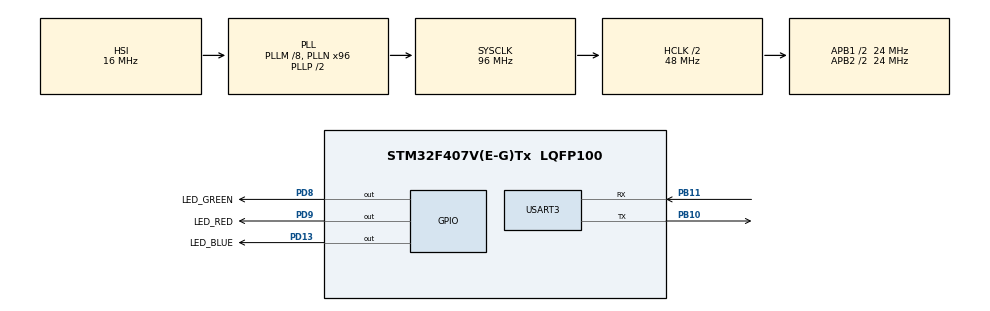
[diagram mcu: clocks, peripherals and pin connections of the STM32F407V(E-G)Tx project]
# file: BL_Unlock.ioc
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Mcu.Family=STM32F4
Mcu.Name=STM32F407V(E-G)Tx
Mcu.Package=LQFP100
NVIC.PriorityGroup=NVIC_PRIORITYGROUP_4
NVIC.USART3_IRQn=true\:0\:0\:false\:false\:true\:true\:true
PA13.Mode=Serial_Wire
PA13.Signal=SYS_JTMS-SWDIO
PA14.Mode=Serial_Wire
PA14.Signal=SYS_JTCK-SWCLK
PB10.Mode=Asynchronous
PB10.Signal=USART3_TX
PB11.Mode=Asynchronous
PB11.Signal=USART3_RX
PD13.GPIO_Label=LED_BLUE
PD13.GPIO_ModeDefaultOutputPP=GPIO_MODE_OUTPUT_PP
PD13.GPIO_PuPd=GPIO_PULLUP
PD13.GPIO_Speed=GPIO_SPEED_FREQ_HIGH
PD13.PinState=GPIO_PIN_SET
PD13.Signal=GPIO_Output
PD8.GPIO_Label=LED_GREEN
PD8.GPIO_ModeDefaultOutputPP=GPIO_MODE_OUTPUT_PP
PD8.GPIO_PuPd=GPIO_PULLUP
PD8.GPIO_Speed=GPIO_SPEED_FREQ_HIGH
PD8.PinState=GPIO_PIN_SET
PD8.Signal=GPIO_Output
PD9.GPIO_Label=LED_RED
PD9.GPIO_PuPd=GPIO_PULLUP
PD9.GPIO_Speed=GPIO_SPEED_FREQ_HIGH
PD9.PinState=GPIO_PIN_SET
PD9.Signal=GPIO_Output
ProjectManager.HeapSize=0x2000
ProjectManager.StackSize=0x4000
ProjectManager.TargetToolchain=STM32CubeIDE
RCC.48MHZClocksFreq_Value=48000000
RCC.AHBCLKDivider=RCC_SYSCLK_DIV2
RCC.AHBFreq_Value=48000000
RCC.APB1CLKDivider=RCC_HCLK_DIV2
RCC.APB1Freq_Value=24000000
RCC.APB1TimFreq_Value=48000000
RCC.APB2CLKDivider=RCC_HCLK_DIV2
RCC.APB2Freq_Value=24000000
RCC.APB2TimFreq_Value=48000000
RCC.CortexFreq_Value=48000000
RCC.HCLKFreq_Value=48000000
RCC.HSE_VALUE=16000000
RCC.HSI_VALUE=16000000
RCC.LSE_VALUE=32768
RCC.PLLM=8
RCC.PLLN=96
RCC.SYSCLKFreq_VALUE=96000000
RCC.SYSCLKSource=RCC_SYSCLKSOURCE_PLLCLK
RCC.VCOOutputFreq_Value=192000000
USART3.VirtualMode=VM_ASYNC
board=custom

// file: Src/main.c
/* USER CODE BEGIN Header */
/**
  ******************************************************************************
  * @file           : main.c
  * @brief          : Main program body
  ******************************************************************************
  * @attention
  *
  * <h2><center>&copy; Copyright (c) 2020 STMicroelectronics.
  * All rights reserved.</center></h2>
  *
  * This software component is licensed by ST under Ultimate Liberty license
  * SLA0044, the "License"; You may not use this file except in compliance with
  * the License. You may obtain a copy of the License at:
  *                             www.st.com/SLA0044
  *
  ******************************************************************************
  */
/* USER CODE END Header */

#include "main.h"
#include "usart.h"
#include "gpio.h"

/* USER CODE BEGIN Includes */
#include "Periphs/uart.h"
#include "version.h"

/* USER CODE END Includes */

void SystemClock_Config(void);

/* USER CODE BEGIN 0 */

static inline void delay_us(uint16_t us)
{
	while(us--)
	{
		asm("mov r0,r0");asm("mov r0,r0");asm("mov r0,r0");asm("mov r0,r0");asm("mov r0,r0");
		asm("mov r0,r0");asm("mov r0,r0");asm("mov r0,r0");asm("mov r0,r0");asm("mov r0,r0");
		asm("mov r0,r0");asm("mov r0,r0");asm("mov r0,r0");asm("mov r0,r0");asm("mov r0,r0");
		asm("mov r0,r0");asm("mov r0,r0");asm("mov r0,r0");asm("mov r0,r0");asm("mov r0,r0");
		asm("mov r0,r0");asm("mov r0,r0");asm("mov r0,r0");asm("mov r0,r0");asm("mov r0,r0");
		asm("mov r0,r0");asm("mov r0,r0");asm("mov r0,r0");asm("mov r0,r0");asm("mov r0,r0");
		asm("mov r0,r0");asm("mov r0,r0");asm("mov r0,r0");asm("mov r0,r0");asm("mov r0,r0");
		asm("mov r0,r0");asm("mov r0,r0");asm("mov r0,r0");asm("mov r0,r0");asm("mov r0,r0");
		asm("mov r0,r0");asm("mov r0,r0");asm("mov r0,r0");asm("mov r0,r0");asm("mov r0,r0");
	}
}
void delay_ms(uint16_t ms)
{
	while(ms--)
	{
		//for(int i=0; i<48; i++) asm("mov r0,r0");
		delay_us(1000);
	}
}

/****************************************************************
* Function:    Flash_EnableReadProtection
* Description: Enable the read protection of user flash area.
* Input:        NONE
* Output:        NONE
* Return:  NONE
*****************************************************************/

void Flash_EnableReadProtection(void)
{

	FLASH_OBProgramInitTypeDef OBInit;

	__HAL_FLASH_PREFETCH_BUFFER_DISABLE();

	HAL_FLASHEx_OBGetConfig(&OBInit);
	if(OBInit.RDPLevel == OB_RDP_LEVEL_0)
	{
		OBInit.OptionType = OPTIONBYTE_RDP;
		OBInit.RDPLevel = OB_RDP_LEVEL_1;
		HAL_FLASH_Unlock();
		HAL_FLASH_OB_Unlock();
		HAL_FLASHEx_OBProgram(&OBInit);
		HAL_FLASH_OB_Launch();
		HAL_FLASH_OB_Lock();
		HAL_FLASH_Lock();
	}
	__HAL_FLASH_PREFETCH_BUFFER_ENABLE();

}

void Flash_EnableWriteProtection(void)
{

	FLASH_OBProgramInitTypeDef OBInit;

	__HAL_FLASH_PREFETCH_BUFFER_DISABLE();

	HAL_FLASHEx_OBGetConfig(&OBInit);
	app_debug("[%s--%d] WRPSector[0x%08X]\r\n", __func__, __LINE__, OBInit.WRPSector);
	// 锁住 boot 扇区, 0是保护
	if(0x00 != (OBInit.WRPSector&0x07))
	{
		OBInit.OptionType = OPTIONBYTE_WRP;
		OBInit.WRPState = OB_WRPSTATE_ENABLE;
		OBInit.WRPSector = 0x07;
		HAL_FLASH_Unlock();
		HAL_FLASH_OB_Unlock();
		HAL_FLASHEx_OBProgram(&OBInit);
		HAL_FLASH_OB_Launch();
		HAL_FLASH_OB_Lock();
		HAL_FLASH_Lock();
	}
	app_debug("[%s--%d] WRPSector[0x%08X]\r\n", __func__, __LINE__, OBInit.WRPSector);
	__HAL_FLASH_PREFETCH_BUFFER_ENABLE();

}

/****************************************************************
* Function:    Flash_DisableReadProtection
* Description: Disable the read protection of user flash area.
* Input:        NONE
* Output:        NONE
* Return:  NONE
*****************************************************************/
void Flash_DisableReadProtection(void)
{

  FLASH_OBProgramInitTypeDef OBInit;

  __HAL_FLASH_PREFETCH_BUFFER_DISABLE();

  HAL_FLASHEx_OBGetConfig(&OBInit);
  if(OBInit.RDPLevel != OB_RDP_LEVEL_0)
  {
    OBInit.OptionType = OPTIONBYTE_RDP;
    OBInit.RDPLevel = OB_RDP_LEVEL_0;
    HAL_FLASH_Unlock();
    HAL_FLASH_OB_Unlock();
    HAL_FLASHEx_OBProgram(&OBInit);
    HAL_FLASH_OB_Launch();
    HAL_FLASH_OB_Lock();
    HAL_FLASH_Lock();
  }
  __HAL_FLASH_PREFETCH_BUFFER_ENABLE();

}
void Flash_DisableWriteProtection(void)
{

	FLASH_OBProgramInitTypeDef OBInit;

	__HAL_FLASH_PREFETCH_BUFFER_DISABLE();

	HAL_FLASHEx_OBGetConfig(&OBInit);
	app_debug("[%s--%d] WRPSector[0x%08X]\r\n", __func__, __LINE__, OBInit.WRPSector);
	// 解锁
	if(0x7FF != (OBInit.WRPSector&0x7FF))
	{
		OBInit.OptionType = OPTIONBYTE_WRP;
		OBInit.WRPState = OB_WRPSTATE_DISABLE;
		OBInit.WRPSector = 0x7FF;
		HAL_FLASH_Unlock();
		HAL_FLASH_OB_Unlock();
		HAL_FLASHEx_OBProgram(&OBInit);
		HAL_FLASH_OB_Launch();
		HAL_FLASH_OB_Lock();
		HAL_FLASH_Lock();
	}
	app_debug("[%s--%d] WRPSector[0x%08X]\r\n", __func__, __LINE__, OBInit.WRPSector);
	__HAL_FLASH_PREFETCH_BUFFER_ENABLE();

}

/* USER CODE END 0 */

int main(void)
{
  /* USER CODE BEGIN 1 */

	//const struct Emb_Device_Version* const flash = (const struct Emb_Device_Version*)0x08000000UL;
	//int conut=0;
  /* USER CODE END 1 */

  /* MCU Configuration--------------------------------------------------------*/

  /* Reset of all peripherals, Initializes the Flash interface and the Systick. */
  HAL_Init();

  /* Configure the system clock */
  SystemClock_Config();

  /* Initialize all configured peripherals */
  MX_GPIO_Init();
  MX_USART3_UART_Init();
  /* USER CODE BEGIN 2 */
	app_debug("[%s--%d] Ver[%d | 0x%08X]:%s\r\n", __func__, __LINE__, sizeof(Emb_Version), &Emb_Version, Emb_Version.version);
	//app_debug("[%s--%d] Ver[0x%08X]:%s\r\n", __func__, __LINE__, flash, flash->version);
	//
	//Flash_DisableReadProtection();
	Flash_EnableWriteProtection();
	Flash_DisableWriteProtection();
  /* USER CODE END 2 */

  /* Infinite loop */
  /* USER CODE BEGIN WHILE */
  while (1)
  {
	  LL_GPIO_TogglePin(GPIOD, LED_GREEN_Pin);
	  //app_debug("[%s--%d] count:%d \r\n", __func__, __LINE__, conut++);
	  delay_ms(500);
    /* USER CODE END WHILE */

  }
}

void SystemClock_Config(void)
{
  RCC_OscInitTypeDef RCC_OscInitStruct = {0};
  RCC_ClkInitTypeDef RCC_ClkInitStruct = {0};

  /** Configure the main internal regulator output voltage
  */
  __HAL_RCC_PWR_CLK_ENABLE();
  __HAL_PWR_VOLTAGESCALING_CONFIG(PWR_REGULATOR_VOLTAGE_SCALE1);
  /** Initializes the CPU, AHB and APB busses clocks
  */
  RCC_OscInitStruct.OscillatorType = RCC_OSCILLATORTYPE_HSI;
  RCC_OscInitStruct.HSIState = RCC_HSI_ON;
  RCC_OscInitStruct.HSICalibrationValue = RCC_HSICALIBRATION_DEFAULT;
  RCC_OscInitStruct.PLL.PLLState = RCC_PLL_ON;
  RCC_OscInitStruct.PLL.PLLSource = RCC_PLLSOURCE_HSI;
  RCC_OscInitStruct.PLL.PLLM = 8;
  RCC_OscInitStruct.PLL.PLLN = 96;
  RCC_OscInitStruct.PLL.PLLP = RCC_PLLP_DIV2;
  RCC_OscInitStruct.PLL.PLLQ = 4;
  if (HAL_RCC_OscConfig(&RCC_OscInitStruct) != HAL_OK)
  {
    Error_Handler();
  }
  /** Initializes the CPU, AHB and APB busses clocks
  */
  RCC_ClkInitStruct.ClockType = RCC_CLOCKTYPE_HCLK|RCC_CLOCKTYPE_SYSCLK
                              |RCC_CLOCKTYPE_PCLK1|RCC_CLOCKTYPE_PCLK2;
  RCC_ClkInitStruct.SYSCLKSource = RCC_SYSCLKSOURCE_PLLCLK;
  RCC_ClkInitStruct.AHBCLKDivider = RCC_SYSCLK_DIV2;
  RCC_ClkInitStruct.APB1CLKDivider = RCC_HCLK_DIV2;
  RCC_ClkInitStruct.APB2CLKDivider = RCC_HCLK_DIV2;

  if (HAL_RCC_ClockConfig(&RCC_ClkInitStruct, FLASH_LATENCY_1) != HAL_OK)
  {
    Error_Handler();
  }
}

void Error_Handler(void)
{
}

/************************ (C) COPYRIGHT STMicroelectronics *****END OF FILE****/
